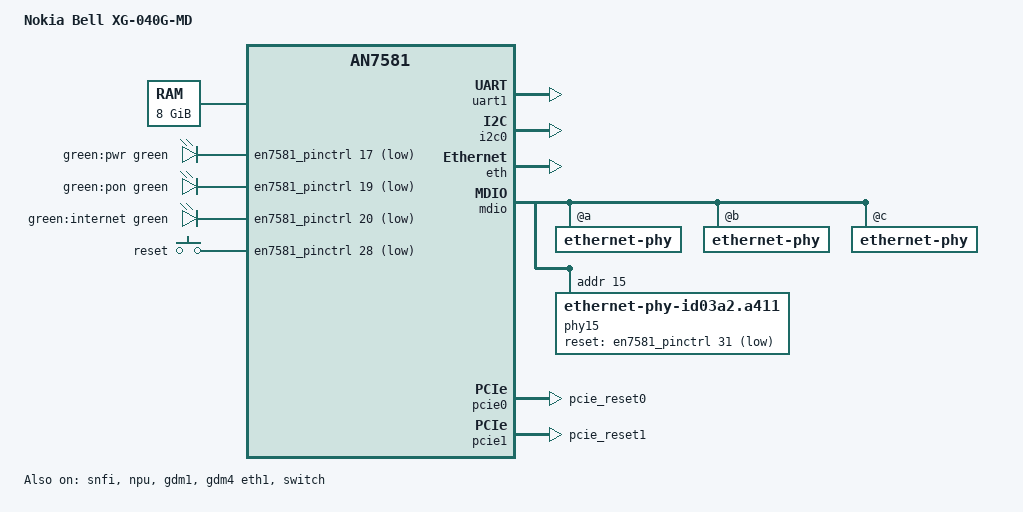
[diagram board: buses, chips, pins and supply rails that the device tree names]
// SPDX-License-Identifier: (GPL-2.0-only OR BSD-2-Clause)
/dts-v1/;

#include <dt-bindings/leds/common.h>
#include <dt-bindings/gpio/gpio.h>
#include <dt-bindings/input/input.h>
#include "an7581.dtsi"

/ {
    model = "Nokia Bell XG-040G-MD";
    compatible = "bell,xg-040g-md", "airoha,an7581";

    efuse-banks {
        compatible = "airoha,an7581-efuses";
        #address-cells = <1>;
        #size-cells = <0>;

        bank@0 {
            reg = <0>;
        };

        bank@1 {
            reg = <1>;
        };
    };

    aliases {
        serial0 = &uart1;
        ethernet0 = &gdm1;
        ethernet1 = &gdm4;
        led-boot = &led_pwr;
        led-failsafe = &led_pwr;
        led-running = &led_pwr;
        led-upgrade = &led_pwr;
    };

    chosen {
        bootargs = "console=ttyS0,115200n8 loglevel=7 earlycon";
        stdout-path = "serial0:115200n8";
        bootargs-append = " root=/dev/ubiblock0_0 rootfstype=squashfs ro console=ttyS0,115200 earlycon";
    };

    memory@80000000 {
        device_type = "memory";
        reg = <0x0 0x80000000 0x2 0x00000000>;
    };

    leds {
        compatible = "gpio-leds";

        led_pwr: led-0 {
            label = "green:pwr";
            color = <LED_COLOR_ID_GREEN>;
            function = LED_FUNCTION_POWER;
            gpios = <&en7581_pinctrl 17 GPIO_ACTIVE_LOW>;
            default-state = "on";
        };

        led_pon: led-1 {
            label = "green:pon";
            color = <LED_COLOR_ID_GREEN>;
            function = LED_FUNCTION_STATUS;
            gpios = <&en7581_pinctrl 19 GPIO_ACTIVE_LOW>;
            default-state = "off";
        };

        led_internet: led-2 {
            label = "green:internet";
            color = <LED_COLOR_ID_GREEN>;
            function = LED_FUNCTION_WAN;
            gpios = <&en7581_pinctrl 20 GPIO_ACTIVE_LOW>;
            default-state = "off";
        };
    };

    keys {
        compatible = "gpio-keys";

        reset {
            label = "reset";
            linux,code = <KEY_RESTART>;
            gpios = <&en7581_pinctrl 28 GPIO_ACTIVE_LOW>;
            debounce-interval = <60>;
        };
    };
};

&en7581_pinctrl {
    gpio-ranges = <&en7581_pinctrl 0 13 47>;

    mdio_pins: mdio-pins {
        mux {
            function = "mdio";
            groups = "mdio";
        };

        conf {
            pins = "gpio2";
            output-high;
        };
    };

    pcie0_rst_pins: pcie0-rst-pins {
        conf {
            pins = "pcie_reset0";
            drive-open-drain = <1>;
        };
    };

    pcie1_rst_pins: pcie1-rst-pins {
        conf {
            pins = "pcie_reset1";
            drive-open-drain = <1>;
        };
    };

    gswp2_led0_pins: gswp2-led0-pins {
        mux {
            function = "phy2_led0";
            pins = "gpio34";
        };
    };

    gswp3_led0_pins: gswp3-led0-pins {
        mux {
            function = "phy3_led0";
            pins = "gpio35";
        };
    };

    gswp4_led0_pins: gswp4-led0-pins {
        mux {
            function = "phy4_led0";
            pins = "gpio42";
        };
    };
};

&uart1 {
    status = "okay";
};

&snfi {
    status = "okay";
};

&spi_nand {
    partitions {
        compatible = "fixed-partitions";
        #address-cells = <1>;
        #size-cells = <1>;

        partition@0 {
            label = "bootloader";
            reg = <0x00000000 0x00080000>;
            read-only;

            compatible = "fixed-partitions";
            #address-cells = <1>;
            #size-cells = <1>;

            partition@0 {
                label = "u-boot";
                reg = <0x0 0x7c000>;
            };

            partition@7c000 {
                label = "u-boot-env";
                reg = <0x7c000 0x2000>;

                // nvmem-layout {
                //     compatible = "u-boot,env";
                // };
            };
        };

        partition@80000 {
            label = "romfile";
            reg = <0x00080000 0x00040000>;
        };

        partition@c0000 {
            label = "nsb_master";
			reg = <0x000c0000 0x02880000>;

            compatible = "fixed-partitions";
			#address-cells = <1>;
			#size-cells = <1>;

			partition@0 {
				label = "kernel";
				reg = <0x0 0x880000>;
			};

			partition@880000 {
				compatible = "linux,ubi";
				label = "ubi";
				reg = <0x880000 0x2000000>;
			};
        };

        partition@2940000 {
			label = "nsb_slave";
			reg = <0x02940000 0x02880000>;
		};

		partition@51c0000 {
			label = "bosa";
			reg = <0x051c0000 0x00040000>;
		};

		partition@5200000 {
			label = "ri";
			reg = <0x05200000 0x00040000>;
		};

		partition@5240000 {
			label = "flag";
			reg = <0x05240000 0x00040000>;
		};

		partition@5280000 {
			label = "flagback";
			reg = <0x05280000 0x00040000>;
		};

		partition@52c0000 {
			label = "config";
			reg = <0x052c0000 0x00a00000>;
		};

		partition@5cc0000 {
			label = "framwork1";
			reg = <0x05cc0000 0x01000000>;
		};

		partition@6cc0000 {
			label = "framwork2";
			reg = <0x06cc0000 0x01000000>;
		};

		partition@7cc0000 {
			label = "apps";
			reg = <0x07cc0000 0x060e0000>;
		};

		partition@dda0000 {
			label = "oopsfs";
			reg = <0x0dda0000 0x00400000>;
		};

		partition@e1a0000 {
			label = "log";
			reg = <0x0e1a0000 0x00a00000>;
		};
    };
};

&i2c0 {
    status = "okay";
};

&npu {
    status = "okay";
};

&eth {
    status = "okay";
};

&gdm1 {
    status = "okay";
    
    fixed-link {
        speed = <10000>;
        full-duplex;
        pause;
    };
};

&gdm4 {
    status = "okay";
    phy-handle = <&phy15>;
    phy-mode = "2500base-x";
    label = "eth1";
};

&switch {
    status = "okay";
    pinctrl-names = "default";
    pinctrl-0 = <&mdio_pins>;

    ports {
		port@2 {
			status = "okay";
			label = "lan2";
		};

		port@3 {
			status = "okay";
			label = "lan3";
		};

		port@4 {
			status = "okay";
			label = "lan4";
		};
	};

    mdio {
        ethernet-phy@a {
			status = "okay";
			pinctrl-names = "gbe-led";
			pinctrl-0 = <&gswp2_led0_pins>;

			leds {
				led@0 {
					reg = <0x00>;
					function = LED_FUNCTION_LAN;
					status = "okay";
					active-low;
				};
			};
        };

        ethernet-phy@b {
			status = "okay";
			pinctrl-names = "gbe-led";
			pinctrl-0 = <&gswp3_led0_pins>;

			leds {
				led@0 {
					reg = <0x00>;
					function = LED_FUNCTION_LAN;
					status = "okay";
					active-low;
				};
			};
		};

		ethernet-phy@c {
			status = "okay";
			pinctrl-names = "gbe-led";
			pinctrl-0 = <&gswp4_led0_pins>;

			leds {
				led@0 {
					reg = <0x00>;
					function = LED_FUNCTION_LAN;
					status = "okay";
					active-low;
				};
			};
		};

        phy15: ethernet-phy@f {
            /* Airoha EN8811H */
            compatible = "ethernet-phy-id03a2.a411", "ethernet-phy-ieee802.3-c22";
            reg = <15>;
            
            reset-gpios = <&en7581_pinctrl 31 GPIO_ACTIVE_LOW>;
			reset-assert-us = <10000>;
			reset-deassert-us = <2000000>;

			leds {
				#address-cells = <1>;
				#size-cells = <0>;

				led@0 {
					reg = <0>;
					function = LED_FUNCTION_LAN;
					color = <LED_COLOR_ID_BLUE>;
				};
			};
        };
    };
};

&pcie0 {
    status = "okay";
    pinctrl-names = "default";
    pinctrl-0 = <&pcie0_rst_pins>;
};

&pcie1 {
    status = "okay";
    pinctrl-names = "default";
    pinctrl-0 = <&pcie1_rst_pins>;
};
